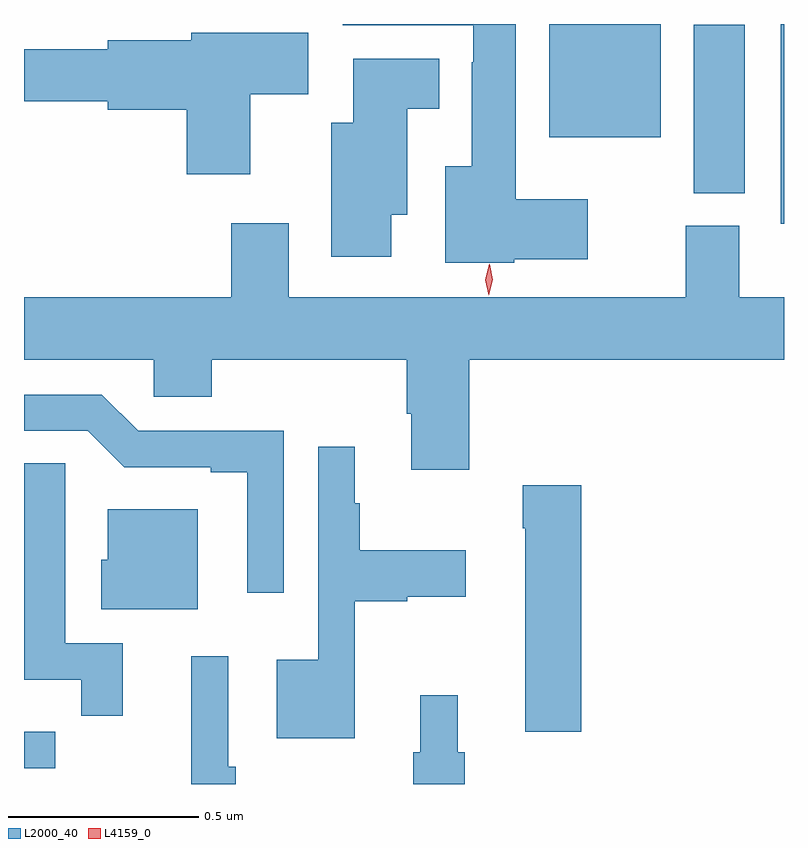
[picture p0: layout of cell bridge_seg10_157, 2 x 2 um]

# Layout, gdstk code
import gdstk
lib = gdstk.Library(unit=1e-6, precision=1e-09)
def R(c, l, rs):  # rectangles x0, y0, x1, y1
    for r in rs: c.add(gdstk.rectangle(r[:2], r[2:], *l))
def P(c, l, *ps):  # polygons
    for p in ps: c.add(gdstk.Polygon(p, *l))
L2000_40 = (2000, 40)
L4159_0 = (4159, 0)

bridge_seg10_157 = lib.new_cell('bridge_seg10_157')
R(bridge_seg10_157, L2000_40, [(261.267,1253.952,261.349,1254.048), (263.259,1255.386,263.267,1255.911), (263.03,1255.465,263.164,1255.909), (262.649,1255.613,262.942,1255.911)])
P(bridge_seg10_157, L2000_40, [(262.557,1255.292),(262.75,1255.292),(262.75,1255.45),(262.561,1255.45),(262.561,1255.911),(262.106,1255.911),(262.106,1255.908),(262.449,1255.908),(262.449,1255.811),(262.445,1255.811),(262.445,1255.537),(262.376,1255.537),(262.376,1255.283),(262.557,1255.283)],
  [(261.862,1255.726),(262.015,1255.726),(262.015,1255.888),(261.707,1255.888),(261.707,1255.868),(261.488,1255.868),(261.488,1255.844),(261.267,1255.844),(261.267,1255.708),(261.488,1255.708),(261.488,1255.685),(261.695,1255.685),(261.695,1255.515),(261.862,1255.515)],
  [(262.234,1255.409),(262.276,1255.409),(262.276,1255.688),(262.36,1255.688),(262.36,1255.819),(262.133,1255.819),(262.133,1255.651),(262.076,1255.651),(262.076,1255.299),(262.234,1255.299)],
  [(262.439,1255.028),(263.267,1255.028),(263.267,1255.192),(263.149,1255.192),(263.149,1255.38),(263.009,1255.38),(263.009,1255.192),(261.964,1255.192),(261.964,1255.387),(261.812,1255.387),(261.812,1255.192),(261.267,1255.192),(261.267,1255.028),(261.609,1255.028),(261.609,1254.93),(261.761,1254.93),(261.761,1255.028),(262.274,1255.028),(262.274,1254.886),(262.286,1254.886),(262.286,1254.738),(262.439,1254.738)],
  [(261.951,1254.84),(261.567,1254.84),(261.471,1254.936),(261.267,1254.936),(261.267,1254.84),(261.435,1254.84),(261.531,1254.744),(261.758,1254.744),(261.758,1254.732),(261.854,1254.732),(261.854,1254.414),(261.951,1254.414)],
  [(262.138,1254.392),(262.275,1254.392),(262.275,1254.404),(262.429,1254.404),(262.429,1254.526),(262.15,1254.526),(262.15,1254.65),(262.138,1254.65),(262.138,1254.799),(262.041,1254.799),(262.041,1254.238),(261.932,1254.238),(261.932,1254.032),(262.138,1254.032)],
  [(261.527,1254.282),(261.376,1254.282),(261.376,1254.644),(261.375,1254.644),(261.375,1254.755),(261.267,1254.755),(261.267,1254.186),(261.418,1254.186),(261.418,1254.09),(261.527,1254.09)],
  [(262.733,1254.697),(262.579,1254.697),(262.579,1254.584),(262.586,1254.584),(262.586,1254.048),(262.733,1254.048)],
  [(261.724,1254.634),(261.488,1254.634),(261.488,1254.501),(261.47,1254.501),(261.47,1254.371),(261.724,1254.371)],
  [(261.824,1253.956),(261.804,1253.956),(261.804,1254.247),(261.707,1254.247),(261.707,1253.911),(261.824,1253.911)],
  [(262.427,1253.994),(262.408,1253.994),(262.408,1254.145),(262.31,1254.145),(262.31,1253.994),(262.291,1253.994),(262.291,1253.911),(262.427,1253.911)])
P(bridge_seg10_157, L4159_0, [(262.49,1255.197),(262.49,1255.197),(262.481,1255.238),(262.491,1255.279),(262.491,1255.279),(262.492,1255.279),(262.501,1255.238),(262.49,1255.197)])

lib.write_gds('bridge_seg10_157.gds')
